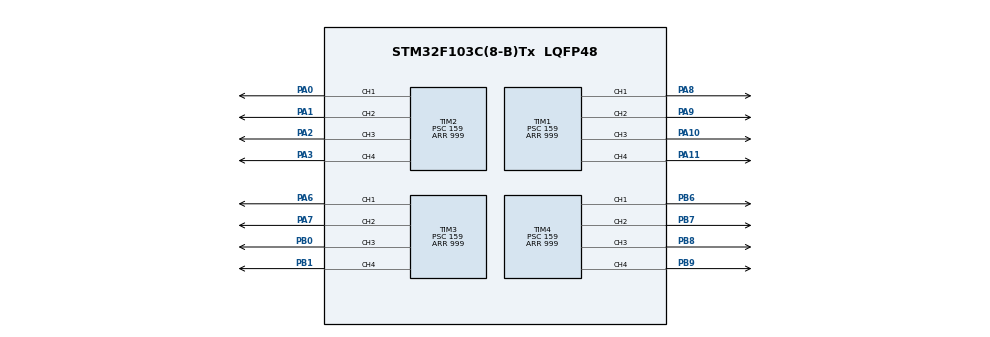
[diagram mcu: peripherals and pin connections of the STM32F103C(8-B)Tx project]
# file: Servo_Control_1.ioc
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Mcu.Family=STM32F1
Mcu.Name=STM32F103C(8-B)Tx
Mcu.Package=LQFP48
NVIC.PriorityGroup=NVIC_PRIORITYGROUP_4
PA0-WKUP.Signal=S_TIM2_CH1_ETR
PA1.Signal=S_TIM2_CH2
PA10.Signal=S_TIM1_CH3
PA11.Signal=S_TIM1_CH4
PA13.Mode=Serial_Wire
PA13.Signal=SYS_JTMS-SWDIO
PA14.Mode=Serial_Wire
PA14.Signal=SYS_JTCK-SWCLK
PA2.Signal=S_TIM2_CH3
PA3.Signal=S_TIM2_CH4
PA6.Signal=S_TIM3_CH1
PA7.Signal=S_TIM3_CH2
PA8.Signal=S_TIM1_CH1
PA9.Signal=S_TIM1_CH2
PB0.Signal=S_TIM3_CH3
PB1.Signal=S_TIM3_CH4
PB6.Signal=S_TIM4_CH1
PB7.Signal=S_TIM4_CH2
PB8.Signal=S_TIM4_CH3
PB9.Signal=S_TIM4_CH4
ProjectManager.HeapSize=0x200
ProjectManager.StackSize=0x400
ProjectManager.TargetToolchain=MDK-ARM V5.32
RCC.APB1Freq_Value=8000000
RCC.APB2Freq_Value=8000000
SH.S_TIM1_CH1.0=TIM1_CH1,PWM Generation1 CH1
SH.S_TIM1_CH2.0=TIM1_CH2,PWM Generation2 CH2
SH.S_TIM1_CH3.0=TIM1_CH3,PWM Generation3 CH3
SH.S_TIM1_CH4.0=TIM1_CH4,PWM Generation4 CH4
SH.S_TIM2_CH1_ETR.0=TIM2_CH1,PWM Generation1 CH1
SH.S_TIM2_CH2.0=TIM2_CH2,PWM Generation2 CH2
SH.S_TIM2_CH3.0=TIM2_CH3,PWM Generation3 CH3
SH.S_TIM2_CH4.0=TIM2_CH4,PWM Generation4 CH4
SH.S_TIM3_CH1.0=TIM3_CH1,PWM Generation1 CH1
SH.S_TIM3_CH2.0=TIM3_CH2,PWM Generation2 CH2
SH.S_TIM3_CH3.0=TIM3_CH3,PWM Generation3 CH3
SH.S_TIM3_CH4.0=TIM3_CH4,PWM Generation4 CH4
SH.S_TIM4_CH1.0=TIM4_CH1,PWM Generation1 CH1
SH.S_TIM4_CH2.0=TIM4_CH2,PWM Generation2 CH2
SH.S_TIM4_CH3.0=TIM4_CH3,PWM Generation3 CH3
SH.S_TIM4_CH4.0=TIM4_CH4,PWM Generation4 CH4
TIM1.Channel-PWM\ Generation1\ CH1=TIM_CHANNEL_1
TIM1.Channel-PWM\ Generation2\ CH2=TIM_CHANNEL_2
TIM1.Channel-PWM\ Generation3\ CH3=TIM_CHANNEL_3
TIM1.Channel-PWM\ Generation4\ CH4=TIM_CHANNEL_4
TIM1.Period=999
TIM1.Prescaler=159
TIM2.Channel-PWM\ Generation1\ CH1=TIM_CHANNEL_1
TIM2.Channel-PWM\ Generation2\ CH2=TIM_CHANNEL_2
TIM2.Channel-PWM\ Generation3\ CH3=TIM_CHANNEL_3
TIM2.Channel-PWM\ Generation4\ CH4=TIM_CHANNEL_4
TIM2.Period=999
TIM2.Prescaler=159
TIM3.Channel-PWM\ Generation1\ CH1=TIM_CHANNEL_1
TIM3.Channel-PWM\ Generation2\ CH2=TIM_CHANNEL_2
TIM3.Channel-PWM\ Generation3\ CH3=TIM_CHANNEL_3
TIM3.Channel-PWM\ Generation4\ CH4=TIM_CHANNEL_4
TIM3.Period=999
TIM3.Prescaler=159
TIM4.Channel-PWM\ Generation1\ CH1=TIM_CHANNEL_1
TIM4.Channel-PWM\ Generation2\ CH2=TIM_CHANNEL_2
TIM4.Channel-PWM\ Generation3\ CH3=TIM_CHANNEL_3
TIM4.Channel-PWM\ Generation4\ CH4=TIM_CHANNEL_4
TIM4.Period=999
TIM4.Prescaler=159
VP_TIM1_VS_ClockSourceINT.Mode=Internal
VP_TIM2_VS_ClockSourceINT.Mode=Internal
VP_TIM3_VS_ClockSourceINT.Mode=Internal
VP_TIM4_VS_ClockSourceINT.Mode=Internal
board=custom

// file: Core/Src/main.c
/* USER CODE BEGIN Header */
/**
  ******************************************************************************
  * @file           : main.c
  * @brief          : Main program body
  ******************************************************************************
  * @attention
  *
  * Copyright (c) 2023 STMicroelectronics.
  * All rights reserved.
  *
  * This software is licensed under terms that can be found in the LICENSE file
  * in the root directory of this software component.
  * If no LICENSE file comes with this software, it is provided AS-IS.
  *
  ******************************************************************************
  */
/* USER CODE END Header */
#include "main.h"

TIM_HandleTypeDef htim1;
TIM_HandleTypeDef htim2;
TIM_HandleTypeDef htim3;
TIM_HandleTypeDef htim4;

void SystemClock_Config(void);
static void MX_GPIO_Init(void);
static void MX_TIM1_Init(void);
static void MX_TIM2_Init(void);
static void MX_TIM3_Init(void);
static void MX_TIM4_Init(void);

/* USER CODE BEGIN 0 */
int Motor_Current_Position[4][5] = {{0, 0, 0, 0, 0}, {0, 75, 79, 78, 77}, {0, 120, 125, 120, 118}, {0, 93, 93, 97, 90}}; //Home
//int Motor_Current_Position[4][5] = {{0, 0, 0, 0, 0}, {0, 90, 95, 60, 60}, {0, 120, 125, 120, 120}, {0, 80, 80, 80, 80}}; //Home_2

int Find_max(int pwm_1, int pwm_2, int pwm_3, int pwm_4)
{
	int max = pwm_1;
	if(max < pwm_2)
		max = pwm_2;
	if(max < pwm_3)
		max = pwm_3;
	if(max < pwm_4)
		max = pwm_4;
	return max;
}
int Find_min(int pwm_1, int pwm_2, int pwm_3, int pwm_4)
{
	int min = pwm_1;
	if(min > pwm_2)
		min = pwm_2;
	if(min > pwm_3)
		min = pwm_3;
	if(min > pwm_4)
		min = pwm_4;
	return min;
}
////////////////////////////////////////////////////////////////////////////////////
void Move_All(int pwm_1, int pwm_2, int pwm_3, int pwm_4, int motor)
{
	int n, max, min;
	max = Find_max(pwm_1, pwm_2, pwm_3, pwm_4);
	min = Find_min(pwm_1, pwm_2, pwm_3, pwm_4);
	switch(motor)
	{
		case 1:
			n = 50;
			for(;n <= max;n++)
			{
				if(pwm_3 >= n)
					htim3.Instance->CCR1 = n;
				if(pwm_1 >= n)
					htim4.Instance->CCR4 = n;
				if(pwm_4 >= n)
					htim4.Instance->CCR1 = n;
				if(pwm_2 >= n)
					htim2.Instance->CCR4 = n;
				HAL_Delay(10);
			}
			break;
		case 2:
			n = 70;
			for(;n <= max;n++)
			{
				if(pwm_3 >= n)
					htim3.Instance->CCR2 = n;
				if(pwm_1 >= n)
					htim3.Instance->CCR4 = n;
				if(pwm_4 >= n)
					htim4.Instance->CCR2 = n;
				if(pwm_2 >= n)
					htim2.Instance->CCR3 = n;
				HAL_Delay(10);
			}
			break;
		case 3:
			/*n = 125;
			for(;n >= min;n--)
			{
				if(pwm_3 <= n)
					htim3.Instance->CCR3 = n;
				if(pwm_1 <= n)
					htim1.Instance->CCR1 = n;
				if(pwm_4 <= n)
					htim4.Instance->CCR3 = n;
				if(pwm_2 <= n)
					htim2.Instance->CCR2 = n;
				HAL_Delay(20);
			}
			break;*/
			n = 45;
			for(;n <= max;n++)
			{
				if(pwm_3 >= n)
					htim3.Instance->CCR3 = n;
				if(pwm_1 >= n)
					htim1.Instance->CCR1 = n;
				if(pwm_4 >= n)
					htim4.Instance->CCR3 = n;
				if(pwm_2 >= n)
					htim2.Instance->CCR2 = n;
				HAL_Delay(10);
			}
			break;
	}
}
////////////////////////////////////////////////////////////////////////////////////
void Move(TIM_HandleTypeDef htim, int timer, int CCR, int pwm, int motor)
{
	int n = Motor_Current_Position[motor][timer];
	if(n <= pwm)
	{
		switch(CCR)
		{
			case 1:
					for(;n <= pwm;n++)
					{
						htim.Instance->CCR1 = n;
						HAL_Delay(10);
					}
					break;
			case 2:
					for(;n <= pwm;n++)
					{
						htim.Instance->CCR2 = n;
						HAL_Delay(10);
					}
					break;
			case 3:
					for(;n <= pwm;n++)
					{
						htim.Instance->CCR3 = n;
						HAL_Delay(10);
					}
					break;
			case 4:
					for(;n <= pwm;n++)
					{
						htim.Instance->CCR4 = n;
						HAL_Delay(10);
					}
					break;
		}
	}
	else
	{
		switch(CCR)
		{
			case 1:
					for(;n >= pwm;n--)
					{
						htim.Instance->CCR1 = n;
						HAL_Delay(10);
					}
					break;
			case 2:
					for(;n >= pwm;n--)
					{
						htim.Instance->CCR2 = n;
						HAL_Delay(10);
					}
					break;
			case 3:
					for(;n >= pwm;n--)
					{
						htim.Instance->CCR3 = n;
						HAL_Delay(10);
					}
					break;
			case 4:
					for(;n >= pwm;n--)
					{
						htim.Instance->CCR4 = n;
						HAL_Delay(10);
					}
					break;
		}
	}
	Motor_Current_Position[motor][timer] = pwm;
}
////////////////////////////////////////////////////////////////////////////////////
void Home()
{
	HAL_Delay(2000);
	Move_All(79, 75, 77, 78, 1);
	Move_All(125, 120, 118, 120, 2);
	Move_All(93, 93, 90, 90, 3);
	HAL_Delay(1000);
}
////////////////////////////////////////////////////////////////////////////////////
void Forward(int count)
{
	for(int i = 1;i <= count;i++)
	{
		///////////////////////////
		Move(htim4, 4, 2, 105, 2);
		Move(htim4, 4, 3, 75, 3);
		Move(htim3, 3, 2, 100, 2);
		Move(htim3, 3, 1, 100, 1);
		Move(htim3, 3, 2, 120, 2);
		Move(htim4, 4, 2, 118, 2);
		Move(htim4, 4, 3, 90, 3);
		Move(htim1, 1, 2, 115, 2);
		Move(htim1, 1, 1, 85, 3);
		Move(htim3, 3, 1, 75,1);
		Move(htim1, 1, 2, 120, 2);
		Move(htim1, 1, 1, 93, 3);
		HAL_Delay(300);
		///////////////////////////
		Move(htim1, 1, 2, 110, 2);
		Move(htim1, 1, 1, 79, 3);
		Move(htim2, 2, 3, 105, 2);
		Move(htim2, 2, 4, 54, 1);
		Move(htim2, 2, 3, 125, 2);
		Move(htim1, 1, 2, 120, 2);
		Move(htim1, 1, 1, 93, 3);
		Move(htim4, 4, 2, 113, 2);
		Move(htim4, 4, 3, 82, 3);
		Move(htim2, 2, 4, 79, 1);
		Move(htim4, 4, 2, 118, 2);
		Move(htim4, 4, 3, 90, 3);
		HAL_Delay(300);
	}
}
void Backward(int count)
{
	for(int i = 1;i <= count;i++)
	{
		///////////////////////////
		Move(htim4, 4, 2, 105, 2);
		Move(htim4, 4, 3, 75, 3);
		Move(htim3, 3, 2, 100, 2);
		Move(htim3, 3, 1, 50, 1);
		Move(htim3, 3, 2, 120, 2);
		Move(htim4, 4, 2, 118, 2);
		Move(htim4, 4, 3, 90, 3);
		Move(htim1, 1, 2, 115, 2);
		Move(htim1, 1, 1, 85, 3);
		Move(htim3, 3, 1, 75,1);
		Move(htim1, 1, 2, 120, 2);
		Move(htim1, 1, 1, 93, 3);
		HAL_Delay(300);
		///////////////////////////
		Move(htim1, 1, 2, 110, 2);
		Move(htim1, 1, 1, 79, 3);
		Move(htim2, 2, 3, 105, 2);
		Move(htim2, 2, 4, 104, 1);
		Move(htim2, 2, 3, 125, 2);
		Move(htim1, 1, 2, 120, 2);
		Move(htim1, 1, 1, 93, 3);
		Move(htim4, 4, 2, 110, 2);
		Move(htim4, 4, 3, 74, 3);
		Move(htim2, 2, 4, 79, 1);
		Move(htim4, 4, 2, 118, 2);
		Move(htim4, 4, 3, 90, 3);
		HAL_Delay(300);
	}
}
////////////////////////////////////////////////////////////////////////////////////
void Turn_Left(int count)
{
	for(int i = 1;i <= count;i++)
	{
		///////////////////////////
		Move(htim4, 4, 2, 105, 2);
		Move(htim4, 4, 3, 75, 3);
		Move(htim3, 3, 2, 100, 2);
		Move(htim3, 3, 1, 100, 1);
		Move(htim3, 3, 2, 120, 2);
		Move(htim4, 4, 2, 118, 2);
		Move(htim4, 4, 3, 90, 3);
		///////////////////////////
		Move(htim3, 3, 3, 75, 3);
		Move(htim4, 4, 2, 105, 2);
		Move(htim4, 4, 1, 102, 1);
		Move(htim4, 4, 2, 118, 2);
		Move(htim3, 3, 3, 97, 3);
		for(int p = 1;p <= 25;p++)
		{
			htim3.Instance->CCR1 = 100 - p;
			htim4.Instance->CCR1 = 102 - p;
			HAL_Delay(10);
		}
		Motor_Current_Position[1][3] = 75;
		Motor_Current_Position[1][4] = 77;
		HAL_Delay(300);
	}
}
////////////////////////////////////////////////////////////////////////////////////
void Turn_Right(int count)
{
	for(int i = 1;i <= count;i++)
	{
		///////////////////////////
		Move(htim4, 4, 2, 105, 2);
		Move(htim4, 4, 3, 75, 3);
		Move(htim3, 3, 2, 100, 2);
		Move(htim3, 3, 1, 50, 1);
		Move(htim3, 3, 2, 120, 2);
		Move(htim4, 4, 2, 118, 2);
		Move(htim4, 4, 3, 90, 3);
		///////////////////////////
		Move(htim3, 3, 3, 75, 3);
		Move(htim4, 4, 2, 105, 2);
		Move(htim4, 4, 1, 52, 1);
		Move(htim4, 4, 2, 118, 2);
		Move(htim3, 3, 3, 97, 3);
		for(int p = 1;p <= 25;p++)
		{
			htim3.Instance->CCR1 = 50 + p;
			htim4.Instance->CCR1 = 52 + p;
			HAL_Delay(10);
		}
		Motor_Current_Position[1][3] = 75;
		Motor_Current_Position[1][4] = 77;
		HAL_Delay(300);
	}
}
////////////////////////////////////////////////////////////////////////////////////
/*void Turn_Right()
{
	///////////////////////////
	Move(htim1, 1, 2, 110, 2);
	Move(htim1, 1, 1, 79, 3);
	Move(htim2, 2, 3, 105, 2);
	Move(htim2, 2, 4, 54, 1);
	Move(htim2, 2, 3, 125, 2);
	Move(htim1, 1, 2, 120, 2);
	Move(htim1, 1, 1, 93, 3);
	HAL_Delay(1000);
	///////////////////////////
	Move(htim4, 4, 1, 70, 1);
	Move(htim2, 2, 2, 75, 3);
	Move(htim1, 1, 2, 110, 2);
	Move(htim1, 1, 3, 50, 1);
	Move(htim1, 1, 2, 120, 2);
	Move(htim2, 2, 2, 93, 3);
	Move(htim4, 4, 1, 77, 1);
	Move(htim4, 4, 2, 113, 2);
	Move(htim4, 4, 3, 82, 3);
	for(int p = 1;p <= 25;p++)
	{
		htim1.Instance->CCR3 = 50 + p;
		htim2.Instance->CCR4 = 54 + p;
		HAL_Delay(10);
	}
	Motor_Current_Position[1][1] = 75;
	Motor_Current_Position[1][2] = 79;
	Move(htim4, 4, 2, 118, 2);
	Move(htim4, 4, 3, 90, 3);
}*/
/* USER CODE END 0 */

int main(void)
{

  /* MCU Configuration--------------------------------------------------------*/

  /* Reset of all peripherals, Initializes the Flash interface and the Systick. */
  HAL_Init();

  /* Configure the system clock */
  SystemClock_Config();

  /* Initialize all configured peripherals */
  MX_GPIO_Init();
  MX_TIM1_Init();
  MX_TIM2_Init();
  MX_TIM3_Init();
  MX_TIM4_Init();
  /* USER CODE BEGIN 2 */
	////////////////////////////////////////////////////////////// Leg1
	HAL_TIM_PWM_Start(&htim1, TIM_CHANNEL_1); //A8	=> M3
	HAL_TIM_PWM_Start(&htim3, TIM_CHANNEL_4);	//B1	=> M2
	HAL_TIM_PWM_Start(&htim4, TIM_CHANNEL_4); //B9  => M1
	////////////////////////////////////////////////////////////// Leg2
	HAL_TIM_PWM_Start(&htim2, TIM_CHANNEL_2);	//A1	=> M3
	HAL_TIM_PWM_Start(&htim2, TIM_CHANNEL_3); //A2	=> M2
	HAL_TIM_PWM_Start(&htim2, TIM_CHANNEL_4);	//A3	=> M1
	////////////////////////////////////////////////////////////// Leg3
	HAL_TIM_PWM_Start(&htim3, TIM_CHANNEL_1); //A6	=> M1
	HAL_TIM_PWM_Start(&htim3, TIM_CHANNEL_2);	//A7	=> M2
	HAL_TIM_PWM_Start(&htim3, TIM_CHANNEL_3); //B0	=> M3
	////////////////////////////////////////////////////////////// Leg4
	HAL_TIM_PWM_Start(&htim4, TIM_CHANNEL_1); //B6	=> M1
	HAL_TIM_PWM_Start(&htim4, TIM_CHANNEL_2);	//B7	=> M2
	HAL_TIM_PWM_Start(&htim4, TIM_CHANNEL_3); //B8	=> M3

  /* USER CODE END 2 */

  /* Infinite loop */
  /* USER CODE BEGIN WHILE */
		Home();
		//Turn_Right(6);
		//Forward(10);
		//Turn_Left(8);
		//Backward(10);

while (1)
  {
    /* USER CODE END WHILE */

	}
}

void SystemClock_Config(void)
{
  RCC_OscInitTypeDef RCC_OscInitStruct = {0};
  RCC_ClkInitTypeDef RCC_ClkInitStruct = {0};

  /** Initializes the RCC Oscillators according to the specified parameters
  * in the RCC_OscInitTypeDef structure.
  */
  RCC_OscInitStruct.OscillatorType = RCC_OSCILLATORTYPE_HSI;
  RCC_OscInitStruct.HSIState = RCC_HSI_ON;
  RCC_OscInitStruct.HSICalibrationValue = RCC_HSICALIBRATION_DEFAULT;
  RCC_OscInitStruct.PLL.PLLState = RCC_PLL_NONE;
  if (HAL_RCC_OscConfig(&RCC_OscInitStruct) != HAL_OK)
  {
    Error_Handler();
  }

  /** Initializes the CPU, AHB and APB buses clocks
  */
  RCC_ClkInitStruct.ClockType = RCC_CLOCKTYPE_HCLK|RCC_CLOCKTYPE_SYSCLK
                              |RCC_CLOCKTYPE_PCLK1|RCC_CLOCKTYPE_PCLK2;
  RCC_ClkInitStruct.SYSCLKSource = RCC_SYSCLKSOURCE_HSI;
  RCC_ClkInitStruct.AHBCLKDivider = RCC_SYSCLK_DIV1;
  RCC_ClkInitStruct.APB1CLKDivider = RCC_HCLK_DIV1;
  RCC_ClkInitStruct.APB2CLKDivider = RCC_HCLK_DIV1;

  if (HAL_RCC_ClockConfig(&RCC_ClkInitStruct, FLASH_LATENCY_0) != HAL_OK)
  {
    Error_Handler();
  }
}

static void MX_TIM1_Init(void)
{

  TIM_ClockConfigTypeDef sClockSourceConfig = {0};
  TIM_MasterConfigTypeDef sMasterConfig = {0};
  TIM_OC_InitTypeDef sConfigOC = {0};
  TIM_BreakDeadTimeConfigTypeDef sBreakDeadTimeConfig = {0};

  htim1.Instance = TIM1;
  htim1.Init.Prescaler = 159;
  htim1.Init.CounterMode = TIM_COUNTERMODE_UP;
  htim1.Init.Period = 999;
  htim1.Init.ClockDivision = TIM_CLOCKDIVISION_DIV1;
  htim1.Init.RepetitionCounter = 0;
  htim1.Init.AutoReloadPreload = TIM_AUTORELOAD_PRELOAD_DISABLE;
  if (HAL_TIM_Base_Init(&htim1) != HAL_OK)
  {
    Error_Handler();
  }
  sClockSourceConfig.ClockSource = TIM_CLOCKSOURCE_INTERNAL;
  if (HAL_TIM_ConfigClockSource(&htim1, &sClockSourceConfig) != HAL_OK)
  {
    Error_Handler();
  }
  if (HAL_TIM_PWM_Init(&htim1) != HAL_OK)
  {
    Error_Handler();
  }
  sMasterConfig.MasterOutputTrigger = TIM_TRGO_RESET;
  sMasterConfig.MasterSlaveMode = TIM_MASTERSLAVEMODE_DISABLE;
  if (HAL_TIMEx_MasterConfigSynchronization(&htim1, &sMasterConfig) != HAL_OK)
  {
    Error_Handler();
  }
  sConfigOC.OCMode = TIM_OCMODE_PWM1;
  sConfigOC.Pulse = 0;
  sConfigOC.OCPolarity = TIM_OCPOLARITY_HIGH;
  sConfigOC.OCNPolarity = TIM_OCNPOLARITY_HIGH;
  sConfigOC.OCFastMode = TIM_OCFAST_DISABLE;
  sConfigOC.OCIdleState = TIM_OCIDLESTATE_RESET;
  sConfigOC.OCNIdleState = TIM_OCNIDLESTATE_RESET;
  if (HAL_TIM_PWM_ConfigChannel(&htim1, &sConfigOC, TIM_CHANNEL_1) != HAL_OK)
  {
    Error_Handler();
  }
  if (HAL_TIM_PWM_ConfigChannel(&htim1, &sConfigOC, TIM_CHANNEL_2) != HAL_OK)
  {
    Error_Handler();
  }
  if (HAL_TIM_PWM_ConfigChannel(&htim1, &sConfigOC, TIM_CHANNEL_3) != HAL_OK)
  {
    Error_Handler();
  }
  if (HAL_TIM_PWM_ConfigChannel(&htim1, &sConfigOC, TIM_CHANNEL_4) != HAL_OK)
  {
    Error_Handler();
  }
  sBreakDeadTimeConfig.OffStateRunMode = TIM_OSSR_DISABLE;
  sBreakDeadTimeConfig.OffStateIDLEMode = TIM_OSSI_DISABLE;
  sBreakDeadTimeConfig.LockLevel = TIM_LOCKLEVEL_OFF;
  sBreakDeadTimeConfig.DeadTime = 0;
  sBreakDeadTimeConfig.BreakState = TIM_BREAK_DISABLE;
  sBreakDeadTimeConfig.BreakPolarity = TIM_BREAKPOLARITY_HIGH;
  sBreakDeadTimeConfig.AutomaticOutput = TIM_AUTOMATICOUTPUT_DISABLE;
  if (HAL_TIMEx_ConfigBreakDeadTime(&htim1, &sBreakDeadTimeConfig) != HAL_OK)
  {
    Error_Handler();
  }
  HAL_TIM_MspPostInit(&htim1);

}

static void MX_TIM2_Init(void)
{

  TIM_ClockConfigTypeDef sClockSourceConfig = {0};
  TIM_MasterConfigTypeDef sMasterConfig = {0};
  TIM_OC_InitTypeDef sConfigOC = {0};

  htim2.Instance = TIM2;
  htim2.Init.Prescaler = 159;
  htim2.Init.CounterMode = TIM_COUNTERMODE_UP;
  htim2.Init.Period = 999;
  htim2.Init.ClockDivision = TIM_CLOCKDIVISION_DIV1;
  htim2.Init.AutoReloadPreload = TIM_AUTORELOAD_PRELOAD_DISABLE;
  if (HAL_TIM_Base_Init(&htim2) != HAL_OK)
  {
    Error_Handler();
  }
  sClockSourceConfig.ClockSource = TIM_CLOCKSOURCE_INTERNAL;
  if (HAL_TIM_ConfigClockSource(&htim2, &sClockSourceConfig) != HAL_OK)
  {
    Error_Handler();
  }
  if (HAL_TIM_PWM_Init(&htim2) != HAL_OK)
  {
    Error_Handler();
  }
  sMasterConfig.MasterOutputTrigger = TIM_TRGO_RESET;
  sMasterConfig.MasterSlaveMode = TIM_MASTERSLAVEMODE_DISABLE;
  if (HAL_TIMEx_MasterConfigSynchronization(&htim2, &sMasterConfig) != HAL_OK)
  {
    Error_Handler();
  }
  sConfigOC.OCMode = TIM_OCMODE_PWM1;
  sConfigOC.Pulse = 0;
  sConfigOC.OCPolarity = TIM_OCPOLARITY_HIGH;
  sConfigOC.OCFastMode = TIM_OCFAST_DISABLE;
  if (HAL_TIM_PWM_ConfigChannel(&htim2, &sConfigOC, TIM_CHANNEL_1) != HAL_OK)
  {
    Error_Handler();
  }
  if (HAL_TIM_PWM_ConfigChannel(&htim2, &sConfigOC, TIM_CHANNEL_2) != HAL_OK)
  {
    Error_Handler();
  }
  if (HAL_TIM_PWM_ConfigChannel(&htim2, &sConfigOC, TIM_CHANNEL_3) != HAL_OK)
  {
    Error_Handler();
  }
  if (HAL_TIM_PWM_ConfigChannel(&htim2, &sConfigOC, TIM_CHANNEL_4) != HAL_OK)
  {
    Error_Handler();
  }
  HAL_TIM_MspPostInit(&htim2);

}

static void MX_TIM3_Init(void)
{

  TIM_ClockConfigTypeDef sClockSourceConfig = {0};
  TIM_MasterConfigTypeDef sMasterConfig = {0};
  TIM_OC_InitTypeDef sConfigOC = {0};

  htim3.Instance = TIM3;
  htim3.Init.Prescaler = 159;
  htim3.Init.CounterMode = TIM_COUNTERMODE_UP;
  htim3.Init.Period = 999;
  htim3.Init.ClockDivision = TIM_CLOCKDIVISION_DIV1;
  htim3.Init.AutoReloadPreload = TIM_AUTORELOAD_PRELOAD_DISABLE;
  if (HAL_TIM_Base_Init(&htim3) != HAL_OK)
  {
    Error_Handler();
  }
  sClockSourceConfig.ClockSource = TIM_CLOCKSOURCE_INTERNAL;
  if (HAL_TIM_ConfigClockSource(&htim3, &sClockSourceConfig) != HAL_OK)
  {
    Error_Handler();
  }
  if (HAL_TIM_PWM_Init(&htim3) != HAL_OK)
  {
    Error_Handler();
  }
  sMasterConfig.MasterOutputTrigger = TIM_TRGO_RESET;
  sMasterConfig.MasterSlaveMode = TIM_MASTERSLAVEMODE_DISABLE;
  if (HAL_TIMEx_MasterConfigSynchronization(&htim3, &sMasterConfig) != HAL_OK)
  {
    Error_Handler();
  }
  sConfigOC.OCMode = TIM_OCMODE_PWM1;
  sConfigOC.Pulse = 0;
  sConfigOC.OCPolarity = TIM_OCPOLARITY_HIGH;
  sConfigOC.OCFastMode = TIM_OCFAST_DISABLE;
  if (HAL_TIM_PWM_ConfigChannel(&htim3, &sConfigOC, TIM_CHANNEL_1) != HAL_OK)
  {
    Error_Handler();
  }
  if (HAL_TIM_PWM_ConfigChannel(&htim3, &sConfigOC, TIM_CHANNEL_2) != HAL_OK)
  {
    Error_Handler();
  }
  if (HAL_TIM_PWM_ConfigChannel(&htim3, &sConfigOC, TIM_CHANNEL_3) != HAL_OK)
  {
    Error_Handler();
  }
  if (HAL_TIM_PWM_ConfigChannel(&htim3, &sConfigOC, TIM_CHANNEL_4) != HAL_OK)
  {
    Error_Handler();
  }
  HAL_TIM_MspPostInit(&htim3);

}

static void MX_TIM4_Init(void)
{

  TIM_ClockConfigTypeDef sClockSourceConfig = {0};
  TIM_MasterConfigTypeDef sMasterConfig = {0};
  TIM_OC_InitTypeDef sConfigOC = {0};

  htim4.Instance = TIM4;
  htim4.Init.Prescaler = 159;
  htim4.Init.CounterMode = TIM_COUNTERMODE_UP;
  htim4.Init.Period = 999;
  htim4.Init.ClockDivision = TIM_CLOCKDIVISION_DIV1;
  htim4.Init.AutoReloadPreload = TIM_AUTORELOAD_PRELOAD_DISABLE;
  if (HAL_TIM_Base_Init(&htim4) != HAL_OK)
  {
    Error_Handler();
  }
  sClockSourceConfig.ClockSource = TIM_CLOCKSOURCE_INTERNAL;
  if (HAL_TIM_ConfigClockSource(&htim4, &sClockSourceConfig) != HAL_OK)
  {
    Error_Handler();
  }
  if (HAL_TIM_PWM_Init(&htim4) != HAL_OK)
  {
    Error_Handler();
  }
  sMasterConfig.MasterOutputTrigger = TIM_TRGO_RESET;
  sMasterConfig.MasterSlaveMode = TIM_MASTERSLAVEMODE_DISABLE;
  if (HAL_TIMEx_MasterConfigSynchronization(&htim4, &sMasterConfig) != HAL_OK)
  {
    Error_Handler();
  }
  sConfigOC.OCMode = TIM_OCMODE_PWM1;
  sConfigOC.Pulse = 0;
  sConfigOC.OCPolarity = TIM_OCPOLARITY_HIGH;
  sConfigOC.OCFastMode = TIM_OCFAST_DISABLE;
  if (HAL_TIM_PWM_ConfigChannel(&htim4, &sConfigOC, TIM_CHANNEL_1) != HAL_OK)
  {
    Error_Handler();
  }
  if (HAL_TIM_PWM_ConfigChannel(&htim4, &sConfigOC, TIM_CHANNEL_2) != HAL_OK)
  {
    Error_Handler();
  }
  if (HAL_TIM_PWM_ConfigChannel(&htim4, &sConfigOC, TIM_CHANNEL_3) != HAL_OK)
  {
    Error_Handler();
  }
  if (HAL_TIM_PWM_ConfigChannel(&htim4, &sConfigOC, TIM_CHANNEL_4) != HAL_OK)
  {
    Error_Handler();
  }
  HAL_TIM_MspPostInit(&htim4);

}

static void MX_GPIO_Init(void)
{

  /* GPIO Ports Clock Enable */
  __HAL_RCC_GPIOA_CLK_ENABLE();
  __HAL_RCC_GPIOB_CLK_ENABLE();

}

void Error_Handler(void)
{
  __disable_irq();
  while (1)
  {
  }
}
